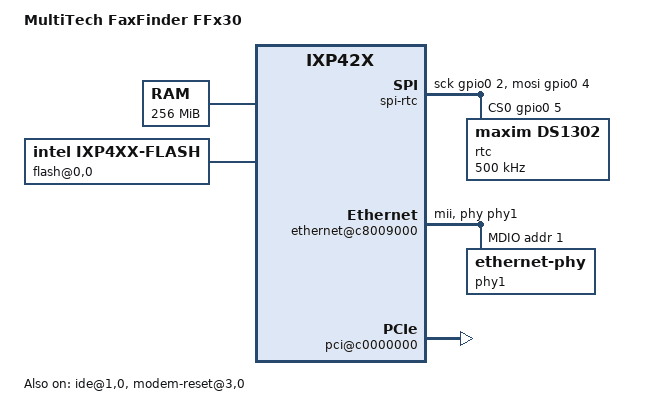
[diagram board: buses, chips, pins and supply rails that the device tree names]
// SPDX-License-Identifier: ISC
/*
 * Device Tree file for the MultiTech FaxFinder FFx30/FF430.
 * This machine is based on a 533 MHz Intel IXP425.
 */

/dts-v1/;

#include "intel-ixp42x.dtsi"
#include <dt-bindings/gpio/gpio.h>

/ {
	model = "MultiTech FaxFinder FFx30";
	compatible = "multitech,ff430", "intel,ixp42x";
	#address-cells = <1>;
	#size-cells = <1>;

	aliases {
		serial0 = &uart0;
	};

	chosen {
		bootargs = "console=ttyS0,115200n8 root=/dev/sda1 rootwait rw init=/sbin/init";
		stdout-path = "serial0:115200n8";
	};

	memory@0 {
		device_type = "memory";
		reg = <0x00000000 0x10000000>;
	};

	spi-rtc {
		compatible = "spi-gpio";
		#address-cells = <1>;
		#size-cells = <0>;

		/* Wiring recovered from the stock DS1302 driver. */
		sck-gpios = <&gpio0 2 GPIO_ACTIVE_HIGH>;
		mosi-gpios = <&gpio0 4 GPIO_ACTIVE_HIGH>;
		cs-gpios = <&gpio0 5 GPIO_ACTIVE_HIGH>;
		num-chipselects = <1>;

		rtc@0 {
			compatible = "maxim,ds1302";
			reg = <0>;
			spi-max-frequency = <500000>;
			spi-3wire;
			spi-lsb-first;
			spi-cs-high;
		};
	};

	soc {
		bus@c4000000 {
			flash@0,0 {
				compatible = "intel,ixp4xx-flash", "cfi-flash";
				bank-width = <2>;
				/* Enable writes on the expansion bus */
				intel,ixp4xx-eb-write-enable = <1>;
				/* 16 MB of Flash mapped in at CS0 */
				reg = <0 0x00000000 0x1000000>;

				partitions {
					compatible = "redboot-fis";
					/* Eraseblock at 0x0fe0000 */
					fis-index-block = <0x7f>;
				};
			};

			ide@1,0 {
				compatible = "intel,ixp4xx-compact-flash";

				intel,ixp4xx-eb-t1 = <3>;
				intel,ixp4xx-eb-t2 = <3>;
				intel,ixp4xx-eb-t3 = <15>;
				intel,ixp4xx-eb-t4 = <3>;
				intel,ixp4xx-eb-t5 = <15>;
				intel,ixp4xx-eb-cycle-type = <0>;
				intel,ixp4xx-eb-byte-access-on-halfword = <1>;
				intel,ixp4xx-eb-mux-address-and-data = <0>;
				intel,ixp4xx-eb-ahb-split-transfers = <0>;
				intel,ixp4xx-eb-write-enable = <1>;
				intel,ixp4xx-eb-byte-access = <1>;

				reg = <1 0x00000000 0x00000200>,
				      <2 0x00000000 0x00000200>;

				status = "okay";
			};

			modem-reset@3,0 {
				compatible = "multitech,ff430-modem-reset";

				/*
				 * Modem reset latch on expansion-bus chip select 3.
				 * Matches the stock driver's CS3 value 0xbfff0003.
				 */
				intel,ixp4xx-eb-t1 = <3>;
				intel,ixp4xx-eb-t2 = <3>;
				intel,ixp4xx-eb-t3 = <15>;
				intel,ixp4xx-eb-t4 = <3>;
				intel,ixp4xx-eb-t5 = <15>;
				intel,ixp4xx-eb-cycle-type = <0>;
				intel,ixp4xx-eb-byte-access-on-halfword = <0>;
				intel,ixp4xx-eb-mux-address-and-data = <0>;
				intel,ixp4xx-eb-ahb-split-transfers = <0>;
				intel,ixp4xx-eb-write-enable = <1>;
				intel,ixp4xx-eb-byte-access = <1>;

				reg = <3 0x00000000 0x00000200>;
				status = "okay";
			};
		};

		/* EthB: Connected to Micrel PHY */
		ethernet@c8009000 {
			status = "okay";

			//intel,mdio-only;
			queue-rx = <&qmgr 3>;
			queue-txready = <&qmgr 20>;
			intel,npe-handle = <&npe 1>;

			phy-mode = "mii";
			phy-handle = <&phy1>;

			mdio {
				#address-cells = <1>;
				#size-cells = <0>;

				phy1: ethernet-phy@1 {
					reg = <1>;
				};
			};
		};

		pci@c0000000 {
			status = "okay";

			/* Exar serial chip is on slot 13 */
			interrupt-map =
			<0x6800 0 0 1 &gpio0 7 IRQ_TYPE_LEVEL_LOW>;
		};
	};
};
